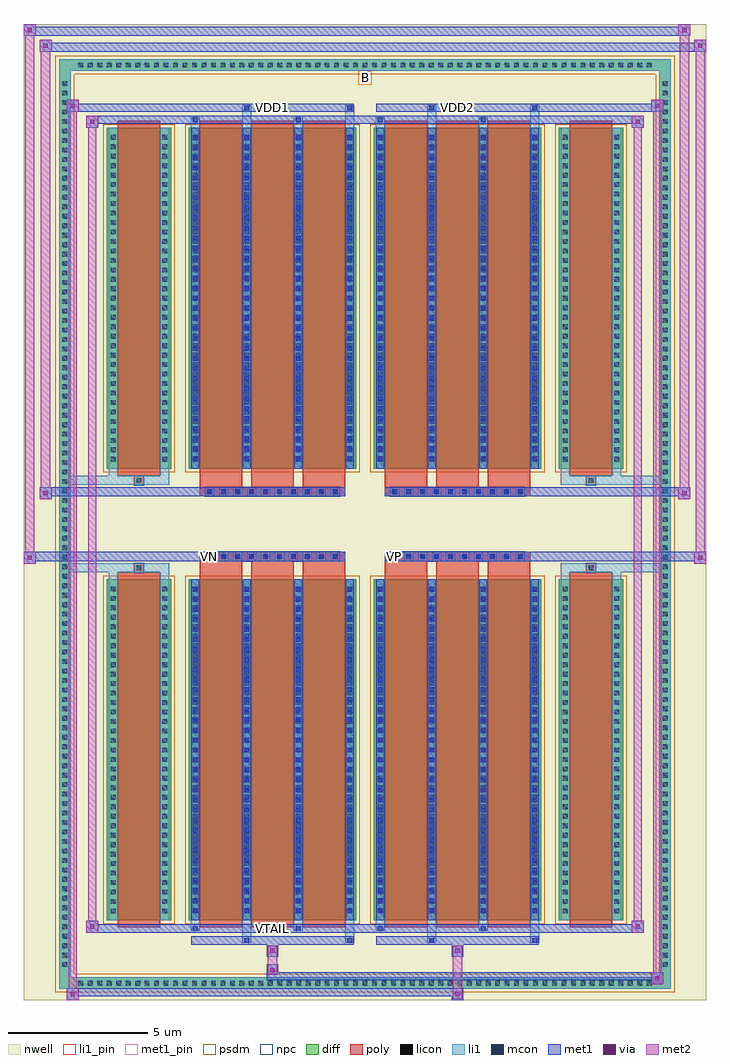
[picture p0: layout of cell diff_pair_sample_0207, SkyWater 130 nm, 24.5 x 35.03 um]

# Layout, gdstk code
import gdstk
lib = gdstk.Library(unit=1e-6, precision=5e-09)
def R(c, l, rs):  # rectangles x0, y0, x1, y1
    for r in rs: c.add(gdstk.rectangle(r[:2], r[2:], *l))
def A(c, l, x, y, w, h, nx, ny, dx, dy):  # array of equal rectangles
    R(c, l, [(x+i*dx, y+j*dy, x+i*dx+w, y+j*dy+h) for i in range(nx) for j in range(ny)])
def P(c, l, *ps):  # polygons
    for p in ps: c.add(gdstk.Polygon(p, *l))
nwell = (64, 20)
diff = (65, 20)
poly = (66, 20)
licon = (66, 44)
li1_pin = (67, 16)
li1 = (67, 20)
mcon = (67, 44)
met1_pin = (68, 16)
met1 = (68, 20)
via = (68, 44)
met2 = (69, 20)
psdm = (94, 20)
npc = (95, 20)

diff_pair_sample_0207 = lib.new_cell('diff_pair_sample_0207')
R(diff_pair_sample_0207, nwell, [(-12.25,-17.08,12.25,17.95), (-9.57,-15.27,-0.01,-0.795), (0.01,-15.27,9.57,-0.795), (-9.57,0.795,-0.01,15.27), (0.01,0.795,9.57,15.27)])
A(diff_pair_sample_0207, diff, -10.405, -16.68, 0.41, 0.41, 61, 2, 0.34, 32.95)
A(diff_pair_sample_0207, diff, -10.98, -16.015, 0.41, 0.41, 1, 94, 0, 0.34)
A(diff_pair_sample_0207, diff, 10.57, -16.015, 0.41, 0.41, 1, 94, 0, 0.34)
R(diff_pair_sample_0207, diff, [(-10.405,-16.68,10.405,-16.27), (-10.98,-16.015,-10.57,16.015), (10.57,-16.015,10.98,16.015), (-9.26,-14.225,-6.96,-1.985), (-6.32,-14.225,-0.32,-1.985), (0.32,-14.225,6.32,-1.985), (6.96,-14.225,9.26,-1.985), (-9.26,1.985,-6.96,14.225), (-6.32,1.985,-0.32,14.225), (0.32,1.985,6.32,14.225), (6.96,1.985,9.26,14.225), (-10.405,16.27,10.405,16.68)])
P(diff_pair_sample_0207, diff, [(10.98,16.68),(-10.98,16.68),(-10.98,-16.27),(-10.57,-16.27),(-10.57,16.27),(10.57,16.27),(10.57,-16.27),(-10.57,-16.27),(-10.98,-16.27),(-10.98,-16.68),(10.98,-16.68)])
A(diff_pair_sample_0207, poly, -5.93, -14.475, 1.52, 12.74, 3, 2, 1.85, 16.21)
A(diff_pair_sample_0207, poly, 0.71, -14.475, 1.52, 12.74, 3, 2, 1.85, 16.21)
A(diff_pair_sample_0207, poly, -5.93, -1.735, 1.52, 0.41, 3, 2, 1.85, 3.06)
A(diff_pair_sample_0207, poly, 0.71, -1.735, 1.52, 0.41, 3, 2, 1.85, 3.06)
A(diff_pair_sample_0207, poly, -5.735, -1.325, 0.33, 0.33, 10, 2, 0.5, 2.32)
A(diff_pair_sample_0207, poly, 0.905, -1.325, 0.33, 0.33, 10, 2, 0.5, 2.32)
R(diff_pair_sample_0207, poly, [(-8.87,-14.475,-7.35,-1.735), (7.35,-14.475,8.87,-1.735), (-8.275,-1.735,-7.945,-1.405), (-8.275,-1.735,-7.945,-1.405), (7.945,-1.735,8.275,-1.405), (7.945,-1.735,8.275,-1.405), (-5.93,-1.325,-0.71,-0.995), (0.71,-1.325,5.93,-0.995), (-5.93,0.995,-0.71,1.325), (0.71,0.995,5.93,1.325), (-8.275,1.405,-7.945,1.735), (-8.275,1.405,-7.945,1.735), (7.945,1.405,8.275,1.735), (7.945,1.405,8.275,1.735), (-8.87,1.735,-7.35,14.475), (7.35,1.735,8.87,14.475)])
A(diff_pair_sample_0207, licon, -10.285, -16.56, 0.17, 0.17, 61, 2, 0.34, 32.95)
A(diff_pair_sample_0207, licon, -10.86, -15.895, 0.17, 0.17, 1, 94, 0, 0.34)
A(diff_pair_sample_0207, licon, 10.69, -15.895, 0.17, 0.17, 1, 94, 0, 0.34)
A(diff_pair_sample_0207, licon, -9.12, -13.97, 0.17, 0.17, 1, 35, 0, 0.34)
A(diff_pair_sample_0207, licon, -7.27, -13.97, 0.17, 0.17, 1, 35, 0, 0.34)
A(diff_pair_sample_0207, licon, -6.18, -13.97, 0.17, 0.17, 4, 35, 1.85, 0.34)
A(diff_pair_sample_0207, licon, 0.46, -13.97, 0.17, 0.17, 4, 35, 1.85, 0.34)
A(diff_pair_sample_0207, licon, 7.1, -13.97, 0.17, 0.17, 1, 35, 0, 0.34)
A(diff_pair_sample_0207, licon, 8.95, -13.97, 0.17, 0.17, 1, 35, 0, 0.34)
A(diff_pair_sample_0207, licon, -5.655, -1.245, 0.17, 0.17, 10, 2, 0.5, 2.32)
A(diff_pair_sample_0207, licon, 0.985, -1.245, 0.17, 0.17, 10, 2, 0.5, 2.32)
A(diff_pair_sample_0207, licon, -9.12, 2.24, 0.17, 0.17, 1, 35, 0, 0.34)
A(diff_pair_sample_0207, licon, -7.27, 2.24, 0.17, 0.17, 1, 35, 0, 0.34)
A(diff_pair_sample_0207, licon, -6.18, 2.24, 0.17, 0.17, 4, 35, 1.85, 0.34)
A(diff_pair_sample_0207, licon, 0.46, 2.24, 0.17, 0.17, 4, 35, 1.85, 0.34)
A(diff_pair_sample_0207, licon, 7.1, 2.24, 0.17, 0.17, 1, 35, 0, 0.34)
A(diff_pair_sample_0207, licon, 8.95, 2.24, 0.17, 0.17, 1, 35, 0, 0.34)
R(diff_pair_sample_0207, licon, [(-8.195,-1.655,-8.025,-1.485), (8.025,-1.655,8.195,-1.485), (-8.195,1.485,-8.025,1.655), (8.025,1.485,8.195,1.655)])
R(diff_pair_sample_0207, li1_pin, [(-0.25,15.77,0.25,16.27)])
A(diff_pair_sample_0207, li1, -10.365, -16.64, 0.33, 0.33, 61, 2, 0.34, 32.95)
A(diff_pair_sample_0207, li1, -10.94, -15.975, 0.33, 0.33, 1, 94, 0, 0.34)
A(diff_pair_sample_0207, li1, 10.61, -15.975, 0.33, 0.33, 1, 94, 0, 0.34)
A(diff_pair_sample_0207, li1, -6.26, -14.225, 0.33, 12.24, 4, 2, 1.85, 16.21)
A(diff_pair_sample_0207, li1, 0.38, -14.225, 0.33, 12.24, 4, 2, 1.85, 16.21)
A(diff_pair_sample_0207, li1, -9.2, -14.05, 0.33, 0.33, 1, 35, 0, 0.34)
A(diff_pair_sample_0207, li1, -7.35, -14.05, 0.33, 0.33, 1, 35, 0, 0.34)
A(diff_pair_sample_0207, li1, -6.26, -14.05, 0.33, 0.33, 4, 35, 1.85, 0.34)
A(diff_pair_sample_0207, li1, 0.38, -14.05, 0.33, 0.33, 4, 35, 1.85, 0.34)
A(diff_pair_sample_0207, li1, 7.02, -14.05, 0.33, 0.33, 1, 35, 0, 0.34)
A(diff_pair_sample_0207, li1, 8.87, -14.05, 0.33, 0.33, 1, 35, 0, 0.34)
A(diff_pair_sample_0207, li1, -6.18, -13.95, 0.17, 0.17, 4, 33, 1.85, 0.36)
A(diff_pair_sample_0207, li1, -6.18, -13.95, 0.17, 11.69, 4, 2, 1.85, 16.21)
A(diff_pair_sample_0207, li1, 0.46, -13.95, 0.17, 0.17, 4, 33, 1.85, 0.36)
A(diff_pair_sample_0207, li1, 0.46, -13.95, 0.17, 11.69, 4, 2, 1.85, 16.21)
A(diff_pair_sample_0207, li1, -5.735, -1.325, 0.33, 0.33, 10, 2, 0.5, 2.32)
A(diff_pair_sample_0207, li1, 0.905, -1.325, 0.33, 0.33, 10, 2, 0.5, 2.32)
A(diff_pair_sample_0207, li1, -9.2, 2.16, 0.33, 0.33, 1, 35, 0, 0.34)
A(diff_pair_sample_0207, li1, -7.35, 2.16, 0.33, 0.33, 1, 35, 0, 0.34)
A(diff_pair_sample_0207, li1, -6.26, 2.16, 0.33, 0.33, 4, 35, 1.85, 0.34)
A(diff_pair_sample_0207, li1, 0.38, 2.16, 0.33, 0.33, 4, 35, 1.85, 0.34)
A(diff_pair_sample_0207, li1, 7.02, 2.16, 0.33, 0.33, 1, 35, 0, 0.34)
A(diff_pair_sample_0207, li1, 8.87, 2.16, 0.33, 0.33, 1, 35, 0, 0.34)
A(diff_pair_sample_0207, li1, -6.18, 2.26, 0.17, 0.17, 4, 33, 1.85, 0.36)
A(diff_pair_sample_0207, li1, 0.46, 2.26, 0.17, 0.17, 4, 33, 1.85, 0.36)
R(diff_pair_sample_0207, li1, [(-10.98,-16.68,-10.57,-16.27), (-10.98,-16.68,-10.57,-16.27), (-10.57,-16.68,10.57,-16.27), (10.57,-16.68,10.98,-16.27), (10.57,-16.68,10.98,-16.27), (-10.98,-16.27,-10.57,16.27), (10.57,-16.27,10.98,16.27), (-4.41,-15.03,-4.08,-14.225), (-4.33,-15.03,-4.16,-14.86), (-0.71,-15.03,-0.38,-14.225), (-0.63,-15.03,-0.46,-14.86), (2.23,-15.03,2.56,-14.225), (2.31,-15.03,2.48,-14.86), (5.93,-15.03,6.26,-14.225), (6.01,-15.03,6.18,-14.86), (-6.26,-14.6,-5.93,-14.225), (-6.18,-14.6,-6.01,-14.43), (-2.56,-14.6,-2.23,-14.225), (-2.48,-14.6,-2.31,-14.43), (0.38,-14.6,0.71,-14.225), (0.46,-14.6,0.63,-14.43), (4.08,-14.6,4.41,-14.225), (4.16,-14.6,4.33,-14.43), (-9.2,-14.225,-8.87,-1.985), (-7.35,-14.225,-7.02,-1.985), (7.02,-14.225,7.35,-1.985), (8.87,-14.225,9.2,-1.985), (-9.2,-1.985,-8.87,-1.405), (-7.35,-1.985,-7.02,-1.405), (7.02,-1.985,7.35,-1.405), (8.87,-1.985,9.2,-1.405), (-10.98,-1.735,-8.275,-1.405), (-9.2,-1.735,-8.275,-1.405), (-8.275,-1.735,-7.945,-1.405), (-7.945,-1.735,-7.02,-1.405), (7.02,-1.735,7.945,-1.405), (7.945,-1.735,8.275,-1.405), (7.945,-1.735,10.98,-1.405), (8.275,-1.735,9.2,-1.405), (-10.98,1.405,-8.275,1.735), (-9.2,1.405,-8.275,1.735), (-9.2,1.405,-8.87,1.985), (-8.275,1.405,-7.945,1.735), (-7.945,1.405,-7.02,1.735), (-7.35,1.405,-7.02,1.985), (7.02,1.405,7.945,1.735), (7.02,1.405,7.35,1.985), (7.945,1.405,8.275,1.735), (7.945,1.405,10.98,1.735), (8.275,1.405,9.2,1.735), (8.87,1.405,9.2,1.985), (-9.2,1.985,-8.87,14.225), (-7.35,1.985,-7.02,14.225), (7.02,1.985,7.35,14.225), (8.87,1.985,9.2,14.225), (-6.26,14.225,-5.93,14.6), (-4.41,14.225,-4.08,15.03), (-2.56,14.225,-2.23,14.6), (-0.71,14.225,-0.38,15.03), (0.38,14.225,0.71,14.6), (2.23,14.225,2.56,15.03), (4.08,14.225,4.41,14.6), (5.93,14.225,6.26,15.03), (-6.18,14.43,-6.01,14.6), (-2.48,14.43,-2.31,14.6), (0.46,14.43,0.63,14.6), (4.16,14.43,4.33,14.6), (-4.33,14.86,-4.16,15.03), (-0.63,14.86,-0.46,15.03), (2.31,14.86,2.48,15.03), (6.01,14.86,6.18,15.03), (-10.98,16.27,-10.57,16.68), (-10.98,16.27,-10.57,16.68), (-10.57,16.27,10.57,16.68), (10.57,16.27,10.98,16.68), (10.57,16.27,10.98,16.68)])
A(diff_pair_sample_0207, mcon, -6.18, -13.95, 0.17, 0.17, 4, 33, 1.85, 0.36)
A(diff_pair_sample_0207, mcon, 0.46, -13.95, 0.17, 0.17, 4, 33, 1.85, 0.36)
A(diff_pair_sample_0207, mcon, -5.655, -1.245, 0.17, 0.17, 10, 2, 0.5, 2.32)
A(diff_pair_sample_0207, mcon, 0.985, -1.245, 0.17, 0.17, 10, 2, 0.5, 2.32)
A(diff_pair_sample_0207, mcon, -6.18, 2.26, 0.17, 0.17, 4, 33, 1.85, 0.36)
A(diff_pair_sample_0207, mcon, 0.46, 2.26, 0.17, 0.17, 4, 33, 1.85, 0.36)
R(diff_pair_sample_0207, mcon, [(-4.33,-15.03,-4.16,-14.86), (-0.63,-15.03,-0.46,-14.86), (2.31,-15.03,2.48,-14.86), (6.01,-15.03,6.18,-14.86), (-6.18,-14.6,-6.01,-14.43), (-2.48,-14.6,-2.31,-14.43), (0.46,-14.6,0.63,-14.43), (4.16,-14.6,4.33,-14.43), (-6.18,14.43,-6.01,14.6), (-2.48,14.43,-2.31,14.6), (0.46,14.43,0.63,14.6), (4.16,14.43,4.33,14.6), (-4.33,14.86,-4.16,15.03), (-0.63,14.86,-0.46,15.03), (2.31,14.86,2.48,15.03), (6.01,14.86,6.18,15.03)])
R(diff_pair_sample_0207, met1_pin, [(-3.455,-14.64,-3.185,-14.37), (-5.705,-1.285,-5.435,-1.015), (0.935,-1.285,1.205,-1.015), (-3.455,14.82,-3.185,15.09), (3.185,14.82,3.455,15.09)])
A(diff_pair_sample_0207, met1, -6.24, -14.225, 0.29, 12.24, 4, 2, 1.85, 16.21)
A(diff_pair_sample_0207, met1, 0.4, -14.225, 0.29, 12.24, 4, 2, 1.85, 16.21)
A(diff_pair_sample_0207, met1, -6.24, -14.01, 0.29, 0.29, 4, 33, 1.85, 0.36)
A(diff_pair_sample_0207, met1, 0.4, -14.01, 0.29, 0.29, 4, 33, 1.85, 0.36)
A(diff_pair_sample_0207, met1, -5.715, -1.305, 0.29, 0.29, 10, 2, 0.5, 2.32)
A(diff_pair_sample_0207, met1, 0.925, -1.305, 0.29, 0.29, 10, 2, 0.5, 2.32)
A(diff_pair_sample_0207, met1, -6.24, 2.2, 0.29, 0.29, 4, 33, 1.85, 0.36)
A(diff_pair_sample_0207, met1, 0.4, 2.2, 0.29, 0.29, 4, 33, 1.85, 0.36)
R(diff_pair_sample_0207, met1, [(-10.71,-17.08,-10.28,-16.65), (3.105,-17.08,3.535,-16.65), (-10.71,-16.94,3.535,-16.65), (10.28,-16.51,10.71,-16.08), (-3.535,-16.37,10.71,-16.08), (-3.535,-16.23,-3.105,-15.8), (-3.535,-15.52,-3.105,-15.09), (3.105,-15.52,3.535,-15.09), (-6.24,-15.09,-0.4,-14.8), (-4.39,-15.09,-4.1,-14.8), (-0.69,-15.09,-0.4,-14.8), (0.4,-15.09,6.24,-14.8), (2.25,-15.09,2.54,-14.8), (5.95,-15.09,6.24,-14.8), (-10,-14.66,-9.57,-14.23), (-10,-14.66,-6.24,-14.37), (-6.24,-14.66,-5.95,-14.37), (-6.24,-14.66,-0.4,-14.37), (-2.54,-14.66,-2.25,-14.37), (-0.4,-14.66,0.4,-14.37), (0.4,-14.66,0.69,-14.37), (0.4,-14.66,6.24,-14.37), (4.1,-14.66,4.39,-14.37), (6.24,-14.66,10,-14.37), (9.57,-14.66,10,-14.23), (-12.25,-1.425,-11.82,-0.995), (11.82,-1.425,12.25,-0.995), (-12.25,-1.325,-0.71,-0.995), (-5.93,-1.325,-0.71,-0.995), (0.71,-1.325,5.93,-0.995), (0.71,-1.325,12.25,-0.995), (-11.68,0.895,-11.25,1.325), (11.25,0.895,11.68,1.325), (-11.68,0.995,-5.93,1.325), (-5.93,0.995,-0.71,1.325), (0.71,0.995,5.93,1.325), (5.93,0.995,11.68,1.325), (-10,14.23,-9.57,14.66), (9.57,14.23,10,14.66), (-10,14.37,-6.24,14.66), (-6.24,14.37,-5.95,14.66), (-6.24,14.37,-0.4,14.66), (-2.54,14.37,-2.25,14.66), (-0.4,14.37,0.4,14.66), (0.4,14.37,0.69,14.66), (0.4,14.37,6.24,14.66), (4.1,14.37,4.39,14.66), (6.24,14.37,10,14.66), (-10.71,14.8,-10.28,15.23), (-10.71,14.8,-6.24,15.09), (-6.24,14.8,-0.4,15.09), (-4.39,14.8,-4.1,15.09), (-0.69,14.8,-0.4,15.09), (0.4,14.8,6.24,15.09), (2.25,14.8,2.54,15.09), (5.95,14.8,6.24,15.09), (6.24,14.8,10.71,15.09), (10.28,14.8,10.71,15.23), (-11.68,16.95,-11.25,17.38), (-11.68,16.95,-9.57,17.28), (-9.57,16.95,9.57,17.28), (9.57,16.95,12.25,17.28), (11.82,16.95,12.25,17.38), (-12.25,17.52,-11.82,17.95), (-12.25,17.52,-9.57,17.85), (-9.57,17.52,9.57,17.85), (9.57,17.52,11.68,17.85), (11.25,17.52,11.68,17.95)])
R(diff_pair_sample_0207, via, [(-10.57,-16.94,-10.42,-16.79), (3.245,-16.94,3.395,-16.79), (10.42,-16.37,10.57,-16.22), (-3.395,-16.09,-3.245,-15.94), (-3.395,-15.38,-3.245,-15.23), (3.245,-15.38,3.395,-15.23), (-9.86,-14.52,-9.71,-14.37), (9.71,-14.52,9.86,-14.37), (-12.11,-1.285,-11.96,-1.135), (11.96,-1.285,12.11,-1.135), (-11.54,1.035,-11.39,1.185), (11.39,1.035,11.54,1.185), (-9.86,14.37,-9.71,14.52), (9.71,14.37,9.86,14.52), (-10.57,14.94,-10.42,15.09), (10.42,14.94,10.57,15.09), (-11.54,17.09,-11.39,17.24), (11.96,17.09,12.11,17.24), (-12.11,17.66,-11.96,17.81), (11.39,17.66,11.54,17.81)])
R(diff_pair_sample_0207, met2, [(-10.71,-17.08,-10.28,-16.65), (-10.64,-17.08,-10.35,15.23), (-10.35,-17.08,-10.28,-16.65), (-10.66,-17.03,-10.33,-16.7), (3.155,-17.03,3.485,-16.7), (3.155,-16.7,3.485,-15.47), (10.28,-16.51,10.71,-16.08), (10.35,-16.51,10.64,15.23), (10.64,-16.51,10.71,-16.08), (10.33,-16.46,10.66,-16.13), (-3.485,-16.18,-3.155,-15.85), (-3.485,-15.85,-3.155,-15.47), (-3.485,-15.47,-3.155,-15.14), (3.155,-15.47,3.485,-15.14), (-10,-14.66,-9.57,-14.23), (-9.93,-14.66,-9.64,14.66), (-9.64,-14.66,-9.57,-14.23), (9.57,-14.66,10,-14.23), (9.64,-14.66,9.93,14.66), (9.93,-14.66,10,-14.23), (-9.95,-14.61,-9.62,-14.28), (9.62,-14.61,9.95,-14.28), (-12.25,-1.425,-11.82,-0.995), (-12.2,-1.425,-11.87,17.95), (-11.87,-1.425,-11.82,-0.995), (11.82,-1.425,12.25,-0.995), (11.87,-1.425,12.2,17.38), (12.2,-1.425,12.25,-0.995), (-12.2,-1.375,-11.87,-1.045), (11.87,-1.375,12.2,-1.045), (-11.68,0.895,-11.25,1.325), (-11.63,0.895,-11.3,17.38), (-11.3,0.895,-11.25,1.325), (11.25,0.895,11.68,1.325), (11.3,0.895,11.63,17.95), (11.63,0.895,11.68,1.325), (-11.63,0.945,-11.3,1.275), (11.3,0.945,11.63,1.275), (-10,14.23,-9.57,14.66), (-9.64,14.23,-9.57,14.66), (9.57,14.23,10,14.66), (9.93,14.23,10,14.66), (-9.95,14.28,-9.62,14.61), (9.62,14.28,9.95,14.61), (-10.71,14.8,-10.28,15.23), (-10.35,14.8,-10.28,15.23), (10.28,14.8,10.71,15.23), (10.64,14.8,10.71,15.23), (-10.66,14.85,-10.33,15.18), (10.33,14.85,10.66,15.18), (-11.68,16.95,-11.25,17.38), (-11.3,16.95,-11.25,17.38), (11.82,16.95,12.25,17.38), (12.2,16.95,12.25,17.38), (-11.63,17,-11.3,17.33), (11.87,17,12.2,17.33), (-12.25,17.52,-11.82,17.95), (-11.87,17.52,-11.82,17.95), (11.25,17.52,11.68,17.95), (11.63,17.52,11.68,17.95), (-12.2,17.57,-11.87,17.9), (11.3,17.57,11.63,17.9)])
R(diff_pair_sample_0207, psdm, [(-9.39,-14.355,-6.83,-1.855), (-6.45,-14.355,-0.19,-1.855), (0.19,-14.355,6.45,-1.855), (6.83,-14.355,9.39,-1.855), (-9.39,1.855,-6.83,14.355), (-6.45,1.855,-0.19,14.355), (0.19,1.855,6.45,14.355), (6.83,1.855,9.39,14.355)])
P(diff_pair_sample_0207, psdm, [(11.11,16.81),(-11.11,16.81),(-11.11,-16.14),(-10.44,-16.14),(-10.44,16.14),(10.44,16.14),(10.44,-16.14),(-10.44,-16.14),(-11.11,-16.14),(-11.11,-16.81),(11.11,-16.81)])
A(diff_pair_sample_0207, npc, -5.755, -1.345, 0.37, 0.37, 10, 2, 0.5, 2.32)
A(diff_pair_sample_0207, npc, 0.885, -1.345, 0.37, 0.37, 10, 2, 0.5, 2.32)
R(diff_pair_sample_0207, npc, [(-8.295,-1.755,-7.925,-1.385), (7.925,-1.755,8.295,-1.385), (-5.755,-1.345,-4.885,-0.975), (-5.755,-1.345,-4.885,-0.975), (-5.255,-1.345,-4.385,-0.975), (-5.255,-1.345,-4.385,-0.975), (-4.755,-1.345,-3.885,-0.975), (-4.755,-1.345,-3.885,-0.975), (-4.255,-1.345,-3.385,-0.975), (-4.255,-1.345,-3.385,-0.975), (-3.755,-1.345,-2.885,-0.975), (-3.755,-1.345,-2.885,-0.975), (-3.255,-1.345,-2.385,-0.975), (-3.255,-1.345,-2.385,-0.975), (-2.755,-1.345,-1.885,-0.975), (-2.755,-1.345,-1.885,-0.975), (-2.255,-1.345,-1.385,-0.975), (-2.255,-1.345,-1.385,-0.975), (-1.755,-1.345,-0.885,-0.975), (-1.755,-1.345,-0.885,-0.975), (0.885,-1.345,1.755,-0.975), (0.885,-1.345,1.755,-0.975), (1.385,-1.345,2.255,-0.975), (1.385,-1.345,2.255,-0.975), (1.885,-1.345,2.755,-0.975), (1.885,-1.345,2.755,-0.975), (2.385,-1.345,3.255,-0.975), (2.385,-1.345,3.255,-0.975), (2.885,-1.345,3.755,-0.975), (2.885,-1.345,3.755,-0.975), (3.385,-1.345,4.255,-0.975), (3.385,-1.345,4.255,-0.975), (3.885,-1.345,4.755,-0.975), (3.885,-1.345,4.755,-0.975), (4.385,-1.345,5.255,-0.975), (4.385,-1.345,5.255,-0.975), (4.885,-1.345,5.755,-0.975), (4.885,-1.345,5.755,-0.975), (-5.755,0.975,-4.885,1.345), (-5.755,0.975,-4.885,1.345), (-5.255,0.975,-4.385,1.345), (-5.255,0.975,-4.385,1.345), (-4.755,0.975,-3.885,1.345), (-4.755,0.975,-3.885,1.345), (-4.255,0.975,-3.385,1.345), (-4.255,0.975,-3.385,1.345), (-3.755,0.975,-2.885,1.345), (-3.755,0.975,-2.885,1.345), (-3.255,0.975,-2.385,1.345), (-3.255,0.975,-2.385,1.345), (-2.755,0.975,-1.885,1.345), (-2.755,0.975,-1.885,1.345), (-2.255,0.975,-1.385,1.345), (-2.255,0.975,-1.385,1.345), (-1.755,0.975,-0.885,1.345), (-1.755,0.975,-0.885,1.345), (0.885,0.975,1.755,1.345), (0.885,0.975,1.755,1.345), (1.385,0.975,2.255,1.345), (1.385,0.975,2.255,1.345), (1.885,0.975,2.755,1.345), (1.885,0.975,2.755,1.345), (2.385,0.975,3.255,1.345), (2.385,0.975,3.255,1.345), (2.885,0.975,3.755,1.345), (2.885,0.975,3.755,1.345), (3.385,0.975,4.255,1.345), (3.385,0.975,4.255,1.345), (3.885,0.975,4.755,1.345), (3.885,0.975,4.755,1.345), (4.385,0.975,5.255,1.345), (4.385,0.975,5.255,1.345), (4.885,0.975,5.755,1.345), (4.885,0.975,5.755,1.345), (-8.295,1.385,-7.925,1.755), (7.925,1.385,8.295,1.755)])
diff_pair_sample_0207.add(gdstk.Label('VTAIL', (-3.32,-14.505), layer=68, texttype=5))
diff_pair_sample_0207.add(gdstk.Label('VN', (-5.57,-1.15), layer=68, texttype=5))
diff_pair_sample_0207.add(gdstk.Label('VP', (1.07,-1.15), layer=68, texttype=5))
diff_pair_sample_0207.add(gdstk.Label('B', (0,16.02), layer=67, texttype=5))
diff_pair_sample_0207.add(gdstk.Label('VDD2', (3.32,14.955), layer=68, texttype=5))
diff_pair_sample_0207.add(gdstk.Label('VDD1', (-3.32,14.955), layer=68, texttype=5))

lib.write_gds('diff_pair_sample_0207.gds')
